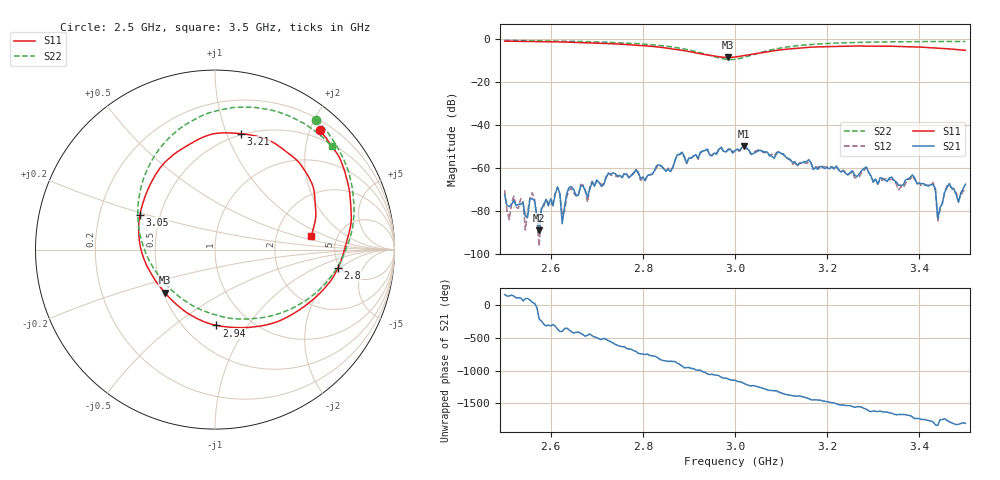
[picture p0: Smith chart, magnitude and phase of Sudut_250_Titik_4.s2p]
# Hz S RI R 50
! CMT, C1220, 16058040, 17.2.0/1
! Date: 15/08/2018 10:35:07
! Data: Format (Calibration Info)
! Freq  S11: Re/Im (F2)  S21: Re/Im (F2)  S12: Re/Im (F2)  S22: Re/Im (F2)
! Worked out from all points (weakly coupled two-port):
!   201 points, 2.5 GHz to 3.5 GHz, reference 50 ohm
!   highest |S21| = -50.06 dB at 3.02 GHz (marker M1); lowest = -89.0 dB at 2.575 GHz (marker M2)
!   lowest |S11| = -8.7 dB at 2.985 GHz (marker M3), VSWR 2.16, Z = 25.5 - j14.2 ohm
!   |S11| at or under -10 dB: nowhere
!   |S22| runs from -9.6 to -0.8 dB; largest |S21 - S12| = 0.00026
!   S11 on the Smith chart (normalised r, x): 2.5 GHz: 0.36, +2.16; 2.8 GHz: 4.76, -1.86; 2.94 GHz: 0.71, -0.73; 3.05 GHz: 0.38, +0.19; 3.21 GHz: 0.49, +1.12; 3.5 GHz: 3.19, +0.66
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2.5e9  0.583 0.6636  -0.000216 8.9e-05  -0.000283 0.000103  0.5644 0.7226
2.505e9  0.5904 0.6552  -9.52e-05 9.62e-05  -4.5e-05 9.29e-05  0.57 0.7172
2.56e9  0.6532 0.5711  0.000145 0.000123  0.000177 0.000191  0.6313 0.6481
2.575e9  0.6739 0.5441  -2.83e-05 2.11e-05  -7.51e-06 1.29e-05  0.6473 0.6253
2.67e9  0.748 0.3325  -5.89e-06 -0.00038  -2.77e-05 -0.000399  0.737 0.4536
2.68e9  0.752 0.3043  -3.39e-05 -0.000206  3.27e-05 -0.000155  0.7452 0.4313
2.725e9  0.7595 0.1783  -0.000733 3.54e-05  -0.000735 0.000191  0.7681 0.3172
2.8e9  0.6856 -0.1017  0.000534 -0.000285  0.000486 -0.000292  0.7541 0.072
2.835e9  0.6028 -0.224  -0.000187 -0.00116  -0.000145 -0.00114  0.7007 -0.064
2.94e9  0.00726 -0.4224  0.00238 0.00131  0.0023 0.00137  0.1807 -0.3862
2.985e9  -0.2783 -0.2409  0.0018 -0.00185  0.00199 -0.0018  -0.1678 -0.2854
3e9  -0.3483 -0.1465  0.000974 -0.00228  0.000775 -0.0024  -0.2658 -0.2023
3.02e9  -0.4099 -0.00985  -0.00146 -0.00278  -0.00144 -0.00281  -0.3655 -0.0638
3.05e9  -0.4183 0.1928  -0.00238 -0.000592  -0.0025 -0.000569  -0.4296 0.1725
3.17e9  -0.0102 0.6446  0.0009 -9.1e-05  0.00094 1.65e-06  -0.0793 0.7427
3.21e9  0.1442 0.6458  0.000699 -0.000777  0.000688 -0.000808  0.0673 0.7859
3.335e9  0.4712 0.4821  -0.000538 0.000215  -0.000471 0.000223  0.4023 0.7484
3.43e9  0.5582 0.2506  0.000381 0.000118  0.000447 7.02e-05  0.5635 0.6556
3.44e9  0.5605 0.225  5.44e-05 -3.83e-05  5.28e-05 -2.46e-05  0.5781 0.6431
3.46e9  0.561 0.1771  0.000256 0.000227  0.000287 0.000246  0.6044 0.6219
3.485e9  0.5473 0.1139  0.000149 -5.02e-05  0.000163 -5.75e-05  0.6337 0.5919
3.5e9  0.5343 0.0738  0.000411 -1.75e-05  0.000304 -4.29e-05  0.6507 0.5749
